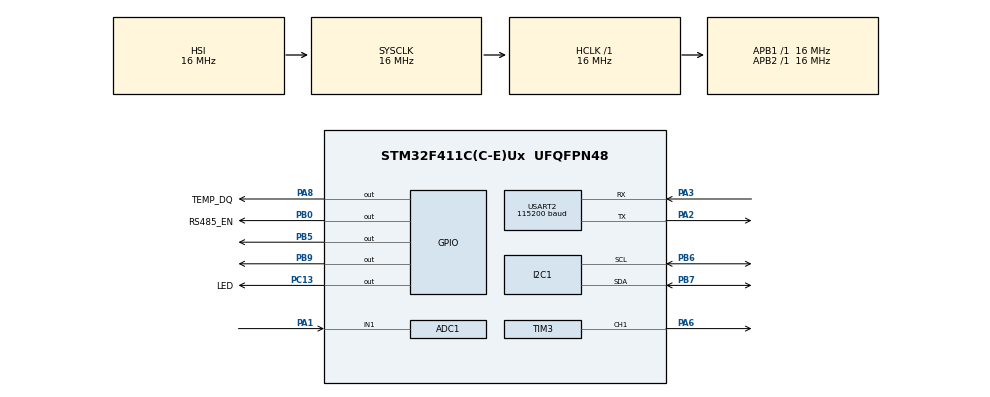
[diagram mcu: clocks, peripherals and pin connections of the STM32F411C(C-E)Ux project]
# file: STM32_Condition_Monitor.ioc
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ADC1.Channel-0\#ChannelRegularConversion=ADC_CHANNEL_1
ADC1.NbrOfConversionFlag=1
ADC1.Rank-0\#ChannelRegularConversion=1
ADC1.SamplingTime-0\#ChannelRegularConversion=ADC_SAMPLETIME_3CYCLES
ADC1.master=1
Dma.Request0=USART2_RX
Dma.USART2_RX.0.Direction=DMA_PERIPH_TO_MEMORY
Dma.USART2_RX.0.FIFOMode=DMA_FIFOMODE_DISABLE
Dma.USART2_RX.0.Instance=DMA1_Stream5
Dma.USART2_RX.0.MemDataAlignment=DMA_MDATAALIGN_BYTE
Dma.USART2_RX.0.MemInc=DMA_MINC_ENABLE
Dma.USART2_RX.0.Mode=DMA_CIRCULAR
Dma.USART2_RX.0.PeriphDataAlignment=DMA_PDATAALIGN_BYTE
Dma.USART2_RX.0.PeriphInc=DMA_PINC_DISABLE
Dma.USART2_RX.0.Priority=DMA_PRIORITY_HIGH
Mcu.Family=STM32F4
Mcu.Name=STM32F411C(C-E)Ux
Mcu.Package=UFQFPN48
NVIC.DMA1_Stream5_IRQn=true\:0\:0\:false\:false\:true\:false\:true\:true
NVIC.PriorityGroup=NVIC_PRIORITYGROUP_4
NVIC.USART2_IRQn=true\:0\:0\:false\:false\:true\:true\:true\:true
PA1.Signal=ADCx_IN1
PA13.Mode=Serial_Wire
PA13.Signal=SYS_JTMS-SWDIO
PA14.Mode=Serial_Wire
PA14.Signal=SYS_JTCK-SWCLK
PA2.Mode=Asynchronous
PA2.Signal=USART2_TX
PA3.Mode=Asynchronous
PA3.Signal=USART2_RX
PA6.Signal=S_TIM3_CH1
PA8.GPIO_Label=TEMP_DQ
PA8.GPIO_ModeDefaultOutputPP=GPIO_MODE_OUTPUT_OD
PA8.GPIO_PuPd=GPIO_NOPULL
PA8.PinState=GPIO_PIN_SET
PA8.Signal=GPIO_Output
PB0.GPIO_Label=RS485_EN
PB0.Signal=GPIO_Output
PB5.Signal=GPIO_Output
PB6.Mode=I2C
PB6.Signal=I2C1_SCL
PB7.Mode=I2C
PB7.Signal=I2C1_SDA
PB9.Signal=GPIO_Output
PC13-ANTI_TAMP.GPIO_Label=LED
PC13-ANTI_TAMP.PinState=GPIO_PIN_SET
PC13-ANTI_TAMP.Signal=GPIO_Output
ProjectManager.HeapSize=0x200
ProjectManager.StackSize=0x400
ProjectManager.TargetToolchain=STM32CubeIDE
RCC.48MHZClocksFreq_Value=48000000
RCC.AHBFreq_Value=16000000
RCC.APB1Freq_Value=16000000
RCC.APB2Freq_Value=16000000
RCC.CortexFreq_Value=16000000
RCC.HSE_VALUE=25000000
RCC.HSI_VALUE=16000000
RCC.LSE_VALUE=32768
RCC.SYSCLKFreq_VALUE=16000000
RCC.VCOOutputFreq_Value=192000000
SH.ADCx_IN1.0=ADC1_IN1,IN1
SH.S_TIM3_CH1.0=TIM3_CH1,PWM Generation1 CH1
TIM3.Channel-PWM\ Generation1\ CH1=TIM_CHANNEL_1
TIM3.Period=999
TIM3.Prescaler=15
USART2.BaudRate=115200
USART2.StopBits=STOPBITS_1
USART2.VirtualMode=VM_ASYNC
board=custom

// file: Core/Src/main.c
/* USER CODE BEGIN Header */
/**
  ******************************************************************************
  * @file           : main.c
  * @brief          : Main program body
  ******************************************************************************
  * @attention
  *
  * Copyright (c) 2026 STMicroelectronics.
  * All rights reserved.
  *
  * This software is licensed under terms that can be found in the LICENSE file
  * in the root directory of this software component.
  * If no LICENSE file comes with this software, it is provided AS-IS.
  *
  ******************************************************************************
  */
/* USER CODE END Header */
#include "main.h"

/* USER CODE BEGIN Includes */
#include <stdio.h>
#include <stdint.h>
#include "ssd1306.h"
#include "ssd1306_fonts.h"
/* USER CODE END Includes */

ADC_HandleTypeDef hadc1;

I2C_HandleTypeDef hi2c1;

TIM_HandleTypeDef htim3;

UART_HandleTypeDef huart2;
DMA_HandleTypeDef hdma_usart2_rx;

/* USER CODE BEGIN PV */

/* Motor and potentiometer */
static uint32_t adc_value = 0;
static uint32_t pot_percent = 0;
static uint32_t pwm_percent = 0;

/* INA219 */
static uint8_t ina219_found = 0;
static uint8_t mon_ina_ok = 0;
static uint32_t mon_bus_mv = 0;
static int32_t mon_current_ma = 0;
static int16_t mon_shunt_raw = 0;

/* MPU6050 */
static uint8_t mpu6050_found = 0;
static uint8_t mon_mpu_ok = 0;

static int32_t mon_ax = 0;
static int32_t mon_ay = 0;
static int32_t mon_az = 0;

/* DS18B20 */
static int32_t mon_temp10 = 0;
static uint8_t mon_temp_ok = 0;
static uint8_t mon_ds_busy = 0;
static uint32_t mon_ds_stamp = 0;

/* Vibration RMS */
static uint32_t vib_rms_mg = 0;
static uint8_t vib_ready = 0;
static uint32_t vib_fifo_overflows = 0;

static int64_t vib_sum_x = 0;
static int64_t vib_sum_y = 0;
static int64_t vib_sum_z = 0;

static int64_t vib_sq_x = 0;
static int64_t vib_sq_y = 0;
static int64_t vib_sq_z = 0;

static uint16_t vib_count = 0;
static uint32_t mpu_retry_ms = 0;

static uint32_t telemetry_last_ms = 0;

/* USER CODE END PV */

void SystemClock_Config(void);
static void MX_GPIO_Init(void);
static void MX_DMA_Init(void);
static void MX_I2C1_Init(void);
static void MX_ADC1_Init(void);
static void MX_TIM3_Init(void);
static void MX_USART2_UART_Init(void);

/* USER CODE BEGIN 0 */

/* ===== SENSOR ADDRESSES ===== */

#define INA219_ADDR   (0x40 << 1)
#define MPU6050_ADDR  (0x68 << 1)

#define VIB_WINDOW 200U
#define VIB_BATCH  24U

/* ===== MICROSECOND DELAY ===== */

static void MON_DelayUs(uint32_t us)
{
    uint32_t cycles =
        (SystemCoreClock / 1000000U) * us;

    uint32_t start = DWT->CYCCNT;

    while ((uint32_t)(DWT->CYCCNT - start) < cycles)
    {
    }
}

/* ===== DS18B20 / 1-WIRE ===== */

static void OW_Low(void)
{
    HAL_GPIO_WritePin(GPIOA, GPIO_PIN_8, GPIO_PIN_RESET);
}

static void OW_Release(void)
{
    HAL_GPIO_WritePin(GPIOA, GPIO_PIN_8, GPIO_PIN_SET);
}

static uint8_t OW_Reset(void)
{
    OW_Low();
    MON_DelayUs(480);

    OW_Release();
    MON_DelayUs(70);

    uint8_t present =
        (HAL_GPIO_ReadPin(GPIOA, GPIO_PIN_8) == GPIO_PIN_RESET);

    MON_DelayUs(410);

    return present;
}

static void OW_WriteBit(uint8_t bit)
{
    uint32_t primask = __get_PRIMASK();
    __disable_irq();

    OW_Low();

    if (bit)
    {
        MON_DelayUs(6);
        OW_Release();
        MON_DelayUs(64);
    }
    else
    {
        MON_DelayUs(60);
        OW_Release();
        MON_DelayUs(10);
    }

    if (primask == 0U)
        __enable_irq();
}

static uint8_t OW_ReadBit(void)
{
    uint32_t primask = __get_PRIMASK();
    __disable_irq();

    OW_Low();
    MON_DelayUs(3);

    OW_Release();
    MON_DelayUs(12);

    uint8_t bit =
        (HAL_GPIO_ReadPin(GPIOA, GPIO_PIN_8) == GPIO_PIN_SET);

    MON_DelayUs(55);

    if (primask == 0U)
        __enable_irq();

    return bit;
}

static void OW_WriteByte(uint8_t value)
{
    for (uint8_t i = 0; i < 8; i++)
    {
        OW_WriteBit(value & 1U);
        value >>= 1;
    }
}

static uint8_t OW_ReadByte(void)
{
    uint8_t value = 0;

    for (uint8_t i = 0; i < 8; i++)
    {
        value |= (uint8_t)(OW_ReadBit() << i);
    }

    return value;
}

static uint8_t OW_CRC8(const uint8_t *data, uint8_t len)
{
    uint8_t crc = 0;

    for (uint8_t i = 0; i < len; i++)
    {
        uint8_t value = data[i];

        for (uint8_t j = 0; j < 8; j++)
        {
            uint8_t mix = (crc ^ value) & 1U;

            crc >>= 1;

            if (mix)
                crc ^= 0x8C;

            value >>= 1;
        }
    }

    return crc;
}

static void MON_DS18B20_Task(void)
{
    uint32_t now = HAL_GetTick();

    if (!mon_ds_busy)
    {
        if ((uint32_t)(now - mon_ds_stamp) < 1000U)
            return;

        mon_ds_stamp = now;

        if (!OW_Reset())
        {
            mon_temp_ok = 0;
            return;
        }

        OW_WriteByte(0xCC);
        OW_WriteByte(0x44);

        mon_ds_busy = 1;
    }
    else
    {
        if ((uint32_t)(now - mon_ds_stamp) < 800U)
            return;

        mon_ds_busy = 0;
        mon_temp_ok = 0;

        if (!OW_Reset())
            return;

        OW_WriteByte(0xCC);
        OW_WriteByte(0xBE);

        uint8_t data[9];

        for (uint8_t i = 0; i < 9; i++)
        {
            data[i] = OW_ReadByte();
        }

        if (OW_CRC8(data, 8) != data[8])
            return;

        int16_t raw = (int16_t)(
            ((uint16_t)data[1] << 8) | data[0]
        );

        mon_temp10 = ((int32_t)raw * 10) / 16;
        mon_temp_ok = 1;
    }
}

/* ===== INA219 ===== */

static uint8_t MON_INAReg(uint8_t reg, uint16_t *value)
{
    uint8_t data[2];

    if (HAL_I2C_Mem_Read(
        &hi2c1,
        INA219_ADDR,
        reg,
        I2C_MEMADD_SIZE_8BIT,
        data,
        2,
        100
    ) != HAL_OK)
    {
        return 0;
    }

    *value = ((uint16_t)data[0] << 8) | data[1];

    return 1;
}

static void MON_ReadINA(void)
{
    uint16_t bus_raw = 0;
    uint16_t shunt_raw = 0;

    uint8_t ok_bus = MON_INAReg(0x02, &bus_raw);
    uint8_t ok_shunt = MON_INAReg(0x01, &shunt_raw);

    mon_ina_ok = ok_bus && ok_shunt;

    if (!mon_ina_ok)
    {
        mon_bus_mv = 0;
        mon_current_ma = 0;
        mon_shunt_raw = 0;
        return;
    }

    mon_bus_mv = (bus_raw >> 3) * 4U;

    mon_shunt_raw = (int16_t)shunt_raw;

    /* Shunt R100 = 0.1 Ohm */
    /* 1 raw bit = 0.1 mA */

    mon_current_ma = (int32_t)mon_shunt_raw / 10;
}

/* ===== MPU6050 REGISTERS ===== */

static uint8_t MPU_WriteReg(uint8_t reg, uint8_t value)
{
    return (
        HAL_I2C_Mem_Write(
            &hi2c1,
            MPU6050_ADDR,
            reg,
            I2C_MEMADD_SIZE_8BIT,
            &value,
            1,
            100
        ) == HAL_OK
    );
}

/* ===== INTEGER SQUARE ROOT ===== */

static uint32_t VIB_Sqrt64(uint64_t number)
{
    uint64_t result = 0;
    uint64_t bit = (uint64_t)1 << 62;

    while (bit > number)
        bit >>= 2;

    while (bit != 0)
    {
        if (number >= result + bit)
        {
            number -= result + bit;
            result = (result >> 1) + bit;
        }
        else
        {
            result >>= 1;
        }

        bit >>= 2;
    }

    return (uint32_t)result;
}

/* ===== VIBRATION WINDOW ===== */

static void VIB_ResetWindow(void)
{
    vib_sum_x = 0;
    vib_sum_y = 0;
    vib_sum_z = 0;

    vib_sq_x = 0;
    vib_sq_y = 0;
    vib_sq_z = 0;

    vib_count = 0;
}

/* ===== MPU6050 FIFO RESET ===== */

static uint8_t MPU_FIFO_Reset(void)
{
    if (!MPU_WriteReg(0x23, 0x00))
        return 0;

    if (!MPU_WriteReg(0x6A, 0x00))
        return 0;

    if (!MPU_WriteReg(0x6A, 0x04))
        return 0;

    if (!MPU_WriteReg(0x23, 0x08))
        return 0;

    if (!MPU_WriteReg(0x6A, 0x40))
        return 0;

    VIB_ResetWindow();

    return 1;
}

/* ===== MPU6050 INITIALIZATION ===== */

static uint8_t MPU_FIFO_Init(void)
{
    if (!MPU_WriteReg(0x6B, 0x01))
        return 0;

    HAL_Delay(50);

    if (!MPU_WriteReg(0x1A, 0x02))
        return 0;

    if (!MPU_WriteReg(0x19, 0x04))
        return 0;

    if (!MPU_WriteReg(0x1C, 0x00))
        return 0;

    if (!MPU_FIFO_Reset())
        return 0;

    vib_ready = 0;

    return 1;
}

/* ===== ADD VIBRATION SAMPLE ===== */

static void VIB_AddSample(int16_t x, int16_t y, int16_t z)
{
    vib_sum_x += x;
    vib_sum_y += y;
    vib_sum_z += z;

    vib_sq_x += (int64_t)x * x;
    vib_sq_y += (int64_t)y * y;
    vib_sq_z += (int64_t)z * z;

    vib_count++;

    mon_ax = ((int32_t)x * 1000) / 16384;
    mon_ay = ((int32_t)y * 1000) / 16384;
    mon_az = ((int32_t)z * 1000) / 16384;

    if (vib_count >= VIB_WINDOW)
    {
        int64_t n = vib_count;

        int64_t numerator =
            (vib_sq_x + vib_sq_y + vib_sq_z) * n
            - vib_sum_x * vib_sum_x
            - vib_sum_y * vib_sum_y
            - vib_sum_z * vib_sum_z;

        if (numerator < 0)
            numerator = 0;

        uint32_t root = VIB_Sqrt64((uint64_t)numerator);

        vib_rms_mg = (uint32_t)(
            ((uint64_t)root * 1000U) /
            ((uint64_t)vib_count * 16384U)
        );

        vib_ready = 1;

        VIB_ResetWindow();
    }
}

/* ===== MPU6050 FIFO TASK ===== */

static void MPU_FIFO_Task(void)
{
    if (!mpu6050_found)
        return;

    if (!mon_mpu_ok)
    {
        uint32_t now = HAL_GetTick();

        if ((uint32_t)(now - mpu_retry_ms) >= 1000U)
        {
            mpu_retry_ms = now;
            mon_mpu_ok = MPU_FIFO_Init();
        }

        return;
    }

    uint8_t count_data[2];

    if (HAL_I2C_Mem_Read(
        &hi2c1,
        MPU6050_ADDR,
        0x72,
        I2C_MEMADD_SIZE_8BIT,
        count_data,
        2,
        100
    ) != HAL_OK)
    {
        mon_mpu_ok = 0;
        vib_ready = 0;
        return;
    }

    uint16_t fifo_bytes =
        ((uint16_t)count_data[0] << 8) | count_data[1];

    if (fifo_bytes >= 1008U)
    {
        vib_fifo_overflows++;

        if (!MPU_FIFO_Reset())
            mon_mpu_ok = 0;

        vib_ready = 0;
        return;
    }

    uint16_t available = fifo_bytes / 6U;

    while (available > 0)
    {
        uint16_t batch =
            (available > VIB_BATCH) ? VIB_BATCH : available;

        uint8_t data[VIB_BATCH * 6U];

        if (HAL_I2C_Mem_Read(
            &hi2c1,
            MPU6050_ADDR,
            0x74,
            I2C_MEMADD_SIZE_8BIT,
            data,
            (uint16_t)(batch * 6U),
            200
        ) != HAL_OK)
        {
            mon_mpu_ok = 0;
            vib_ready = 0;
            return;
        }

        for (uint16_t i = 0; i < batch; i++)
        {
            uint16_t p = i * 6U;

            int16_t x = (int16_t)(
                ((uint16_t)data[p] << 8) | data[p + 1]
            );

            int16_t y = (int16_t)(
                ((uint16_t)data[p + 2] << 8) | data[p + 3]
            );

            int16_t z = (int16_t)(
                ((uint16_t)data[p + 4] << 8) | data[p + 5]
            );

            VIB_AddSample(x, y, z);
        }

        available -= batch;
    }
}

/* ===== RS485 TELEMETRY ===== */

static void RS485_SendTelemetry(void)
{
    char bus[16];
    char current[16];
    char temp[16];
    char rms[16];
    char frame[128];

    /* INA219 */

    if (mon_ina_ok)
    {
        snprintf(
            bus, sizeof(bus), "%lu",
            (unsigned long)mon_bus_mv
        );

        snprintf(
            current, sizeof(current), "%ld",
            (long)mon_current_ma
        );
    }
    else
    {
        snprintf(bus, sizeof(bus), "NA");
        snprintf(current, sizeof(current), "NA");
    }

    /* DS18B20 */

    if (mon_temp_ok)
    {
        snprintf(
            temp, sizeof(temp), "%ld",
            (long)mon_temp10
        );
    }
    else
    {
        snprintf(temp, sizeof(temp), "NA");
    }

    /* MPU6050 */

    if (mon_mpu_ok && vib_ready)
    {
        snprintf(
            rms, sizeof(rms), "%lu",
            (unsigned long)vib_rms_mg
        );
    }
    else
    {
        snprintf(rms, sizeof(rms), "NA");
    }

    /* Build CSV telemetry frame */

    int len = snprintf(
        frame,
        sizeof(frame),
        "MON,%lu,%lu,%s,%s,%s,%s,%lu\r\n",
        (unsigned long)HAL_GetTick(),
        (unsigned long)pwm_percent,
        bus,
        current,
        temp,
        rms,
        (unsigned long)vib_fifo_overflows
    );

    if (len <= 0 || len >= (int)sizeof(frame))
        return;

    /* RS485 transmit mode */

    HAL_GPIO_WritePin(
        GPIOB,
        GPIO_PIN_0,
        GPIO_PIN_SET
    );

    HAL_Delay(1);

    HAL_UART_Transmit(
        &huart2,
        (uint8_t *)frame,
        (uint16_t)len,
        200
    );

    /* RS485 receive mode */

    HAL_GPIO_WritePin(
        GPIOB,
        GPIO_PIN_0,
        GPIO_PIN_RESET
    );
}

/* USER CODE END 0 */

int main(void)
{

  /* MCU Configuration--------------------------------------------------------*/

  /* Reset of all peripherals, Initializes the Flash interface and the Systick. */
  HAL_Init();

  /* Configure the system clock */
  SystemClock_Config();

  /* Initialize all configured peripherals */
  MX_GPIO_Init();
  MX_DMA_Init();
  MX_I2C1_Init();
  MX_ADC1_Init();
  MX_TIM3_Init();
  MX_USART2_UART_Init();
  /* USER CODE BEGIN 2 */
  /* ===== MOTOR INITIALIZATION ===== */

  HAL_GPIO_WritePin(GPIOB, GPIO_PIN_9, GPIO_PIN_RESET);
  HAL_GPIO_WritePin(GPIOB, GPIO_PIN_5, GPIO_PIN_RESET);

  __HAL_TIM_SET_COMPARE(&htim3, TIM_CHANNEL_1, 0);

  if (HAL_TIM_PWM_Start(&htim3, TIM_CHANNEL_1) != HAL_OK)
  {
      Error_Handler();
  }

  /* ===== OLED INITIALIZATION ===== */

  ssd1306_Init();

  /* ===== DS18B20 INITIALIZATION ===== */

  CoreDebug->DEMCR |= CoreDebug_DEMCR_TRCENA_Msk;

  DWT->CYCCNT = 0;
  DWT->CTRL |= DWT_CTRL_CYCCNTENA_Msk;

  HAL_GPIO_WritePin(GPIOA, GPIO_PIN_8, GPIO_PIN_SET);

  mon_ds_stamp = HAL_GetTick() - 1000U;

  /* ===== CHECK I2C DEVICES ===== */

  ina219_found =
      (HAL_I2C_IsDeviceReady(
          &hi2c1, INA219_ADDR, 3, 100
      ) == HAL_OK);

  mpu6050_found =
      (HAL_I2C_IsDeviceReady(
          &hi2c1, MPU6050_ADDR, 3, 100
      ) == HAL_OK);

  /* ===== INA219 INITIALIZATION ===== */

  uint8_t ina_cfg[2] = {0x39, 0x9F};

  if (ina219_found)
  {
      if (HAL_I2C_Mem_Write(
          &hi2c1,
          INA219_ADDR,
          0x00,
          I2C_MEMADD_SIZE_8BIT,
          ina_cfg,
          2,
          100
      ) != HAL_OK)
      {
          ina219_found = 0;
      }
  }

  /* ===== MPU6050 INITIALIZATION ===== */

  if (mpu6050_found)
  {
      mon_mpu_ok = MPU_FIFO_Init();
  }
  else
  {
      mon_mpu_ok = 0;
  }

  mpu_retry_ms = HAL_GetTick();

  /* ===== INITIAL SCREEN ===== */

  ssd1306_Fill(Black);

  ssd1306_SetCursor(0, 0);
  ssd1306_WriteString(
      "STM32 MONITOR",
      Font_7x10,
      White
  );

  ssd1306_SetCursor(0, 20);
  ssd1306_WriteString(
      "SENSORS INIT...",
      Font_6x8,
      White
  );

  ssd1306_UpdateScreen();

  HAL_Delay(500);

  /* ===== RS485 INITIALIZATION ===== */

  /* B0 LOW = receive mode */
  HAL_GPIO_WritePin(
      GPIOB,
      GPIO_PIN_0,
      GPIO_PIN_RESET
  );

  telemetry_last_ms = HAL_GetTick();
  /* USER CODE END 2 */

  /* Infinite loop */
  while (1)
  {

    /* USER CODE BEGIN 3 */
	  /* ===== READ POTENTIOMETER ===== */

	  uint32_t target_pwm = 0;

	  if (HAL_ADC_Start(&hadc1) == HAL_OK)
	  {
	      if (HAL_ADC_PollForConversion(&hadc1, 100) == HAL_OK)
	      {
	          adc_value = HAL_ADC_GetValue(&hadc1);
	          pot_percent = (adc_value * 100U) / 4095U;
	          target_pwm = pot_percent;
	      }

	      HAL_ADC_Stop(&hadc1);
	  }

	  /* Dead zone: 0-5% */

	  if (target_pwm <= 5U)
	  {
	      target_pwm = 0;
	  }

	  /* ===== SMOOTH MOTOR CONTROL ===== */

	  if (pwm_percent < target_pwm)
	  {
	      uint32_t step = target_pwm - pwm_percent;
	      pwm_percent += (step > 5U) ? 5U : step;
	  }
	  else if (pwm_percent > target_pwm)
	  {
	      uint32_t step = pwm_percent - target_pwm;
	      pwm_percent -= (step > 5U) ? 5U : step;
	  }

	  /* ===== MOTOR PWM ===== */

	  if (pwm_percent == 0U)
	  {
	      __HAL_TIM_SET_COMPARE(&htim3, TIM_CHANNEL_1, 0);

	      HAL_GPIO_WritePin(
	          GPIOB, GPIO_PIN_9, GPIO_PIN_RESET
	      );

	      HAL_GPIO_WritePin(
	          GPIOB, GPIO_PIN_5, GPIO_PIN_RESET
	      );
	  }
	  else
	  {
	      HAL_GPIO_WritePin(
	          GPIOB, GPIO_PIN_9, GPIO_PIN_SET
	      );

	      HAL_GPIO_WritePin(
	          GPIOB, GPIO_PIN_5, GPIO_PIN_RESET
	      );

	      uint32_t period =
	          __HAL_TIM_GET_AUTORELOAD(&htim3) + 1U;

	      uint32_t compare =
	          (pwm_percent * period) / 100U;

	      __HAL_TIM_SET_COMPARE(
	          &htim3,
	          TIM_CHANNEL_1,
	          compare
	      );
	  }

	  /* ===== READ SENSORS ===== */

	  /* DS18B20 */

	  MON_DS18B20_Task();

	  /* MPU6050 FIFO */

	  MPU_FIFO_Task();

	  /* INA219 every 100 ms */

	  static uint32_t ina_last = 0;
	  uint32_t now = HAL_GetTick();

	  if ((uint32_t)(now - ina_last) >= 100U)
	  {
	      ina_last = now;

	      if (ina219_found)
	      {
	          MON_ReadINA();
	      }
	      else
	      {
	          mon_ina_ok = 0;
	      }
	  }

	  /* ===== OLED EVERY 200 MS ===== */

	  static uint32_t oled_last = 0;

	  if ((uint32_t)(now - oled_last) >= 200U)
	  {
	      oled_last = now;

	      char line[32];

	      ssd1306_Fill(Black);

	      /* PWM */

	      snprintf(
	          line, sizeof(line),
	          "PWM:%lu%%",
	          (unsigned long)pwm_percent
	      );

	      ssd1306_SetCursor(0, 0);
	      ssd1306_WriteString(line, Font_6x8, White);

	      /* TEMPERATURE */

	      if (mon_temp_ok)
	      {
	          int32_t t = (mon_temp10 < 0)
	              ? -mon_temp10 : mon_temp10;

	          snprintf(
	              line, sizeof(line),
	              "TEMP:%s%ld.%ld C",
	              (mon_temp10 < 0) ? "-" : "",
	              (long)(t / 10),
	              (long)(t % 10)
	          );
	      }
	      else
	      {
	          snprintf(line, sizeof(line), "TEMP: WAIT/ERR");
	      }

	      ssd1306_SetCursor(0, 9);
	      ssd1306_WriteString(line, Font_6x8, White);

	      /* BUS VOLTAGE */

	      if (mon_ina_ok)
	      {
	          snprintf(
	              line, sizeof(line),
	              "BUS:%lumV",
	              (unsigned long)mon_bus_mv
	          );
	      }
	      else
	      {
	          snprintf(line, sizeof(line), "BUS: ERROR");
	      }

	      ssd1306_SetCursor(0, 18);
	      ssd1306_WriteString(line, Font_6x8, White);

	      /* CURRENT */

	      if (mon_ina_ok)
	      {
	          snprintf(
	              line, sizeof(line),
	              "I:%ldmA S:%d",
	              (long)mon_current_ma,
	              (int)mon_shunt_raw
	          );
	      }
	      else
	      {
	          snprintf(line, sizeof(line), "INA219 ERROR");
	      }

	      ssd1306_SetCursor(0, 27);
	      ssd1306_WriteString(line, Font_6x8, White);

	      /* VIBRATION RMS */

	      if (mon_mpu_ok && vib_ready)
	      {
	          snprintf(
	              line, sizeof(line),
	              "RMS:%lumg OF:%lu",
	              (unsigned long)vib_rms_mg,
	              (unsigned long)vib_fifo_overflows
	          );
	      }
	      else
	      {
	          snprintf(line, sizeof(line), "VIB: WAIT/ERR");
	      }

	      ssd1306_SetCursor(0, 36);
	      ssd1306_WriteString(line, Font_6x8, White);

	      /* ACCELERATION X/Y */

	      snprintf(
	          line, sizeof(line),
	          "AX:%ld AY:%ld",
	          (long)mon_ax,
	          (long)mon_ay
	      );

	      ssd1306_SetCursor(0, 45);
	      ssd1306_WriteString(line, Font_6x8, White);

	      /* ACCELERATION Z */

	      snprintf(
	          line, sizeof(line),
	          "AZ:%ldmg",
	          (long)mon_az
	      );

	      ssd1306_SetCursor(0, 54);
	      ssd1306_WriteString(line, Font_6x8, White);

	      ssd1306_UpdateScreen();
	  }

	  /* ===== RS485 TELEMETRY EVERY 500 MS ===== */

	  uint32_t telemetry_now = HAL_GetTick();

	  if ((uint32_t)(telemetry_now - telemetry_last_ms) >= 500U)
	  {
	      telemetry_last_ms = telemetry_now;

	      RS485_SendTelemetry();
	  }

	  /* ===== MAIN LOOP DELAY ===== */

	  HAL_Delay(10);
  }

  /* USER CODE END 3 */
}

void SystemClock_Config(void)
{
  RCC_OscInitTypeDef RCC_OscInitStruct = {0};
  RCC_ClkInitTypeDef RCC_ClkInitStruct = {0};

  /** Configure the main internal regulator output voltage
  */
  __HAL_RCC_PWR_CLK_ENABLE();
  __HAL_PWR_VOLTAGESCALING_CONFIG(PWR_REGULATOR_VOLTAGE_SCALE1);

  /** Initializes the RCC Oscillators according to the specified parameters
  * in the RCC_OscInitTypeDef structure.
  */
  RCC_OscInitStruct.OscillatorType = RCC_OSCILLATORTYPE_HSI;
  RCC_OscInitStruct.HSIState = RCC_HSI_ON;
  RCC_OscInitStruct.HSICalibrationValue = RCC_HSICALIBRATION_DEFAULT;
  RCC_OscInitStruct.PLL.PLLState = RCC_PLL_NONE;
  if (HAL_RCC_OscConfig(&RCC_OscInitStruct) != HAL_OK)
  {
    Error_Handler();
  }

  /** Initializes the CPU, AHB and APB buses clocks
  */
  RCC_ClkInitStruct.ClockType = RCC_CLOCKTYPE_HCLK|RCC_CLOCKTYPE_SYSCLK
                              |RCC_CLOCKTYPE_PCLK1|RCC_CLOCKTYPE_PCLK2;
  RCC_ClkInitStruct.SYSCLKSource = RCC_SYSCLKSOURCE_HSI;
  RCC_ClkInitStruct.AHBCLKDivider = RCC_SYSCLK_DIV1;
  RCC_ClkInitStruct.APB1CLKDivider = RCC_HCLK_DIV1;
  RCC_ClkInitStruct.APB2CLKDivider = RCC_HCLK_DIV1;

  if (HAL_RCC_ClockConfig(&RCC_ClkInitStruct, FLASH_LATENCY_0) != HAL_OK)
  {
    Error_Handler();
  }
}

static void MX_ADC1_Init(void)
{

  ADC_ChannelConfTypeDef sConfig = {0};

  /** Configure the global features of the ADC (Clock, Resolution, Data Alignment and number of conversion)
  */
  hadc1.Instance = ADC1;
  hadc1.Init.ClockPrescaler = ADC_CLOCK_SYNC_PCLK_DIV2;
  hadc1.Init.Resolution = ADC_RESOLUTION_12B;
  hadc1.Init.ScanConvMode = DISABLE;
  hadc1.Init.ContinuousConvMode = DISABLE;
  hadc1.Init.DiscontinuousConvMode = DISABLE;
  hadc1.Init.ExternalTrigConvEdge = ADC_EXTERNALTRIGCONVEDGE_NONE;
  hadc1.Init.ExternalTrigConv = ADC_SOFTWARE_START;
  hadc1.Init.DataAlign = ADC_DATAALIGN_RIGHT;
  hadc1.Init.NbrOfConversion = 1;
  hadc1.Init.DMAContinuousRequests = DISABLE;
  hadc1.Init.EOCSelection = ADC_EOC_SINGLE_CONV;
  if (HAL_ADC_Init(&hadc1) != HAL_OK)
  {
    Error_Handler();
  }

  /** Configure for the selected ADC regular channel its corresponding rank in the sequencer and its sample time.
  */
  sConfig.Channel = ADC_CHANNEL_1;
  sConfig.Rank = 1;
  sConfig.SamplingTime = ADC_SAMPLETIME_3CYCLES;
  if (HAL_ADC_ConfigChannel(&hadc1, &sConfig) != HAL_OK)
  {
    Error_Handler();
  }

}

static void MX_I2C1_Init(void)
{

  hi2c1.Instance = I2C1;
  hi2c1.Init.ClockSpeed = 100000;
  hi2c1.Init.DutyCycle = I2C_DUTYCYCLE_2;
  hi2c1.Init.OwnAddress1 = 0;
  hi2c1.Init.AddressingMode = I2C_ADDRESSINGMODE_7BIT;
  hi2c1.Init.DualAddressMode = I2C_DUALADDRESS_DISABLE;
  hi2c1.Init.OwnAddress2 = 0;
  hi2c1.Init.GeneralCallMode = I2C_GENERALCALL_DISABLE;
  hi2c1.Init.NoStretchMode = I2C_NOSTRETCH_DISABLE;
  if (HAL_I2C_Init(&hi2c1) != HAL_OK)
  {
    Error_Handler();
  }

}

static void MX_TIM3_Init(void)
{

  TIM_MasterConfigTypeDef sMasterConfig = {0};
  TIM_OC_InitTypeDef sConfigOC = {0};

  htim3.Instance = TIM3;
  htim3.Init.Prescaler = 15;
  htim3.Init.CounterMode = TIM_COUNTERMODE_UP;
  htim3.Init.Period = 999;
  htim3.Init.ClockDivision = TIM_CLOCKDIVISION_DIV1;
  htim3.Init.AutoReloadPreload = TIM_AUTORELOAD_PRELOAD_DISABLE;
  if (HAL_TIM_PWM_Init(&htim3) != HAL_OK)
  {
    Error_Handler();
  }
  sMasterConfig.MasterOutputTrigger = TIM_TRGO_RESET;
  sMasterConfig.MasterSlaveMode = TIM_MASTERSLAVEMODE_DISABLE;
  if (HAL_TIMEx_MasterConfigSynchronization(&htim3, &sMasterConfig) != HAL_OK)
  {
    Error_Handler();
  }
  sConfigOC.OCMode = TIM_OCMODE_PWM1;
  sConfigOC.Pulse = 0;
  sConfigOC.OCPolarity = TIM_OCPOLARITY_HIGH;
  sConfigOC.OCFastMode = TIM_OCFAST_DISABLE;
  if (HAL_TIM_PWM_ConfigChannel(&htim3, &sConfigOC, TIM_CHANNEL_1) != HAL_OK)
  {
    Error_Handler();
  }
  HAL_TIM_MspPostInit(&htim3);

}

static void MX_USART2_UART_Init(void)
{

  huart2.Instance = USART2;
  huart2.Init.BaudRate = 115200;
  huart2.Init.WordLength = UART_WORDLENGTH_8B;
  huart2.Init.StopBits = UART_STOPBITS_1;
  huart2.Init.Parity = UART_PARITY_NONE;
  huart2.Init.Mode = UART_MODE_TX_RX;
  huart2.Init.HwFlowCtl = UART_HWCONTROL_NONE;
  huart2.Init.OverSampling = UART_OVERSAMPLING_16;
  if (HAL_UART_Init(&huart2) != HAL_OK)
  {
    Error_Handler();
  }

}

static void MX_DMA_Init(void)
{

  /* DMA controller clock enable */
  __HAL_RCC_DMA1_CLK_ENABLE();

  /* DMA interrupt init */
  /* DMA1_Stream5_IRQn interrupt configuration */
  HAL_NVIC_SetPriority(DMA1_Stream5_IRQn, 0, 0);
  HAL_NVIC_EnableIRQ(DMA1_Stream5_IRQn);

}

static void MX_GPIO_Init(void)
{
  GPIO_InitTypeDef GPIO_InitStruct = {0};

  /* GPIO Ports Clock Enable */
  __HAL_RCC_GPIOC_CLK_ENABLE();
  __HAL_RCC_GPIOA_CLK_ENABLE();
  __HAL_RCC_GPIOB_CLK_ENABLE();

  /*Configure GPIO pin Output Level */
  HAL_GPIO_WritePin(LED_GPIO_Port, LED_Pin, GPIO_PIN_SET);

  /*Configure GPIO pin Output Level */
  HAL_GPIO_WritePin(GPIOB, RS485_EN_Pin|GPIO_PIN_5|GPIO_PIN_9, GPIO_PIN_RESET);

  /*Configure GPIO pin Output Level */
  HAL_GPIO_WritePin(TEMP_DQ_GPIO_Port, TEMP_DQ_Pin, GPIO_PIN_SET);

  /*Configure GPIO pin : LED_Pin */
  GPIO_InitStruct.Pin = LED_Pin;
  GPIO_InitStruct.Mode = GPIO_MODE_OUTPUT_PP;
  GPIO_InitStruct.Pull = GPIO_NOPULL;
  GPIO_InitStruct.Speed = GPIO_SPEED_FREQ_LOW;
  HAL_GPIO_Init(LED_GPIO_Port, &GPIO_InitStruct);

  /*Configure GPIO pins : RS485_EN_Pin PB5 PB9 */
  GPIO_InitStruct.Pin = RS485_EN_Pin|GPIO_PIN_5|GPIO_PIN_9;
  GPIO_InitStruct.Mode = GPIO_MODE_OUTPUT_PP;
  GPIO_InitStruct.Pull = GPIO_NOPULL;
  GPIO_InitStruct.Speed = GPIO_SPEED_FREQ_LOW;
  HAL_GPIO_Init(GPIOB, &GPIO_InitStruct);

  /*Configure GPIO pin : TEMP_DQ_Pin */
  GPIO_InitStruct.Pin = TEMP_DQ_Pin;
  GPIO_InitStruct.Mode = GPIO_MODE_OUTPUT_OD;
  GPIO_InitStruct.Pull = GPIO_NOPULL;
  GPIO_InitStruct.Speed = GPIO_SPEED_FREQ_LOW;
  HAL_GPIO_Init(TEMP_DQ_GPIO_Port, &GPIO_InitStruct);

}

void Error_Handler(void)
{
  __disable_irq();
  while (1)
  {
  }
}
